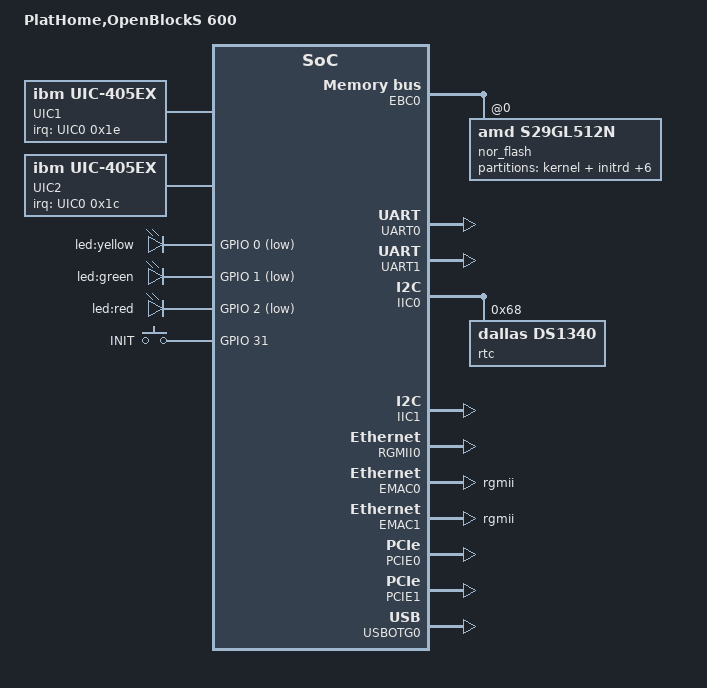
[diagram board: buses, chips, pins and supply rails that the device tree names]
/*
 * Device Tree Source for PlatHome OpenBlockS 600 (405EX)
 *
 * Copyright 2011 Ben Herrenschmidt, IBM Corp.
 *
 * Based on Kilauea by:
 *
 * Copyright 2007-2009 DENX Software Engineering, Stefan Roese <sr@denx.de>
 *
 * This file is licensed under the terms of the GNU General Public
 * License version 2.  This program is licensed "as is" without
 * any warranty of any kind, whether express or implied.
 */

/dts-v1/;
#include <dt-bindings/gpio/gpio.h>
#include <dt-bindings/input/input.h>
#include <dt-bindings/mtd/partitions/uimage.h>

/ {
	#address-cells = <1>;
	#size-cells = <1>;
	model = "PlatHome,OpenBlockS 600";
	compatible = "plathome,obs600";
	dcr-parent = <&{/cpus/cpu@0}>;

	aliases {
		ethernet0 = &EMAC0;
		ethernet1 = &EMAC1;
		serial0 = &UART0;
		serial1 = &UART1;
	};

	cpus {
		#address-cells = <1>;
		#size-cells = <0>;

		cpu@0 {
			device_type = "cpu";
			model = "PowerPC,405EX";
			reg = <0x00000000>;
			clock-frequency = <0>; /* Filled in by U-Boot */
			timebase-frequency = <0>; /* Filled in by U-Boot */
			i-cache-line-size = <32>;
			d-cache-line-size = <32>;
			i-cache-size = <16384>; /* 16 kB */
			d-cache-size = <16384>; /* 16 kB */
			dcr-controller;
			dcr-access-method = "native";
		};
	};

	memory {
		device_type = "memory";
		reg = <0x00000000 0x00000000>; /* Filled in by U-Boot */
	};

	UIC0: interrupt-controller {
		compatible = "ibm,uic-405ex", "ibm,uic";
		interrupt-controller;
		cell-index = <0>;
		dcr-reg = <0x0c0 0x009>;
		#address-cells = <0>;
		#size-cells = <0>;
		#interrupt-cells = <2>;
	};

	UIC1: interrupt-controller1 {
		compatible = "ibm,uic-405ex","ibm,uic";
		interrupt-controller;
		cell-index = <1>;
		dcr-reg = <0x0d0 0x009>;
		#address-cells = <0>;
		#size-cells = <0>;
		#interrupt-cells = <2>;
		interrupts = <0x1e 0x4 0x1f 0x4>; /* cascade */
		interrupt-parent = <&UIC0>;
	};

	UIC2: interrupt-controller2 {
		compatible = "ibm,uic-405ex","ibm,uic";
		interrupt-controller;
		cell-index = <2>;
		dcr-reg = <0x0e0 0x009>;
		#address-cells = <0>;
		#size-cells = <0>;
		#interrupt-cells = <2>;
		interrupts = <0x1c 0x4 0x1d 0x4>; /* cascade */
		interrupt-parent = <&UIC0>;
	};

	CPM0: cpm {
		compatible = "ibm,cpm";
		dcr-access-method = "native";
		dcr-reg = <0x0b0 0x003>;
		unused-units = <0x00000000>;
		idle-doze = <0x02000000>;
		standby = <0xe3e74800>;
	};

	plb {
		compatible = "ibm,plb-405ex", "ibm,plb4";
		#address-cells = <1>;
		#size-cells = <1>;
		ranges;
		clock-frequency = <0>; /* Filled in by U-Boot */

		SDRAM0: memory-controller {
			compatible = "ibm,sdram-405ex", "ibm,sdram-4xx-ddr2";
			dcr-reg = <0x010 0x002>;
			interrupt-parent = <&UIC2>;
			interrupts = <0x5 0x4	/* ECC DED Error */
				      0x6 0x4>;	/* ECC SEC Error */
		};

		CRYPTO: crypto@ef700000 {
			compatible = "amcc,ppc405ex-crypto", "amcc,ppc4xx-crypto";
			reg = <0xef700000 0x80400>;
			interrupt-parent = <&UIC0>;
			interrupts = <0x17 0x2>;
		};

		MAL0: mcmal {
			compatible = "ibm,mcmal-405ex", "ibm,mcmal2";
			dcr-reg = <0x180 0x062>;
			num-tx-chans = <2>;
			num-rx-chans = <2>;
			interrupt-parent = <&MAL0>;
			interrupts = <0x0 0x1 0x2 0x3 0x4>;
			#interrupt-cells = <1>;
			#address-cells = <0>;
			#size-cells = <0>;
			interrupt-map = </*TXEOB*/ 0x0 &UIC0 0xa 0x4
					/*RXEOB*/ 0x1 &UIC0 0xb 0x4
					/*SERR*/  0x2 &UIC1 0x0 0x4
					/*TXDE*/  0x3 &UIC1 0x1 0x4
					/*RXDE*/  0x4 &UIC1 0x2 0x4>;
			interrupt-map-mask = <0xffffffff>;
		};

		POB0: opb {
			compatible = "ibm,opb-405ex", "ibm,opb";
			#address-cells = <1>;
			#size-cells = <1>;
			ranges = <0x80000000 0x80000000 0x10000000
				  0xef600000 0xef600000 0x00a00000
				  0xf0000000 0xf0000000 0x10000000>;
			dcr-reg = <0x0a0 0x005>;
			clock-frequency = <0>; /* Filled in by U-Boot */

			EBC0: ebc {
				compatible = "ibm,ebc-405ex", "ibm,ebc";
				dcr-reg = <0x012 0x002>;
				#address-cells = <2>;
				#size-cells = <1>;
				clock-frequency = <0>; /* Filled in by U-Boot */
				/* ranges property is supplied by U-Boot */
				interrupts = <0x5 0x1>;
				interrupt-parent = <&UIC1>;

				nor_flash@0,0 {
					compatible = "amd,s29gl512n", "cfi-flash";
					bank-width = <2>;
					reg = <0x00000000 0x00000000 0x08000000>;
					#address-cells = <1>;
					#size-cells = <1>;
					partitions {
						compatible = "fixed-partitions";
						#address-cells = <1>;
						#size-cells = <1>;

						partition@0 {
							label = "kernel + initrd";
							reg = <0x00000000 0x03de0000>;
							compatible = "openwrt,uimage", "denx,uimage";
							openwrt,ih-type = <IH_TYPE_MULTI>;
						};
						partition@3de0000 {
							label = "user config area";
							reg = <0x03de0000 0x00080000>;
						};
						partition@3e60000 {
							label = "user program area";
							reg = <0x03e60000 0x04000000>;
						};
						partition@7e60000 {
							label = "flat device tree";
							reg = <0x07e60000 0x00080000>;
						};
						partition@7ee0000 {
							label = "test program";
							reg = <0x07ee0000 0x00080000>;
						};
						partition@7f60000 {
							label = "u-boot env";
							reg = <0x07f60000 0x00040000>;
						};
						partition@7fa0000 {
							label = "u-boot";
							reg = <0x07fa0000 0x00060000>;
						};
					};
				};
			};

			UART0: serial@ef600200 {
				device_type = "serial";
				compatible = "ns16550";
				reg = <0xef600200 0x00000008>;
				virtual-reg = <0xef600200>;
				clock-frequency = <0>; /* Filled in by U-Boot */
				current-speed = <0>;
				interrupt-parent = <&UIC0>;
				interrupts = <0x1a 0x4>;
			};

			UART1: serial@ef600300 {
				device_type = "serial";
				compatible = "ns16550";
				reg = <0xef600300 0x00000008>;
				virtual-reg = <0xef600300>;
				clock-frequency = <0>; /* Filled in by U-Boot */
				current-speed = <0>;
				interrupt-parent = <&UIC0>;
				interrupts = <0x1 0x4>;
			};

			IIC0: i2c@ef600400 {
				compatible = "ibm,iic-405ex", "ibm,iic";
				reg = <0xef600400 0x00000014>;
				interrupt-parent = <&UIC0>;
				interrupts = <0x2 0x4>;
				#address-cells = <1>;
				#size-cells = <0>;

				rtc@68 {
					compatible = "dallas,ds1340";
					reg = <0x68>;
				};
			};

			IIC1: i2c@ef600500 {
				compatible = "ibm,iic-405ex", "ibm,iic";
				reg = <0xef600500 0x00000014>;
				interrupt-parent = <&UIC0>;
				interrupts = <0x7 0x4>;
			};

			RGMII0: emac-rgmii@ef600b00 {
				compatible = "ibm,rgmii-405ex", "ibm,rgmii";
				reg = <0xef600b00 0x00000104>;
				has-mdio;
			};

			EMAC0: ethernet@ef600900 {
				linux,network-index = <0x0>;
				device_type = "network";
				compatible = "ibm,emac-405ex", "ibm,emac4sync";
				interrupt-parent = <&EMAC0>;
				interrupts = <0x0 0x1>;
				#interrupt-cells = <1>;
				#address-cells = <0>;
				#size-cells = <0>;
				interrupt-map = </*Status*/ 0x0 &UIC0 0x18 0x4
						/*Wake*/  0x1 &UIC1 0x1d 0x4>;
				reg = <0xef600900 0x000000c4>;
				local-mac-address = [000000000000]; /* Filled in by U-Boot */
				mal-device = <&MAL0>;
				mal-tx-channel = <0>;
				mal-rx-channel = <0>;
				cell-index = <0>;
				max-frame-size = <9000>;
				rx-fifo-size = <4096>;
				tx-fifo-size = <2048>;
				rx-fifo-size-gige = <16384>;
				tx-fifo-size-gige = <16384>;
				phy-mode = "rgmii";
				phy-map = <0x00000000>;
				rgmii-device = <&RGMII0>;
				rgmii-channel = <0>;
				has-inverted-stacr-oc;
				has-new-stacr-staopc;
			};

			EMAC1: ethernet@ef600a00 {
				linux,network-index = <0x1>;
				device_type = "network";
				compatible = "ibm,emac-405ex", "ibm,emac4sync";
				interrupt-parent = <&EMAC1>;
				interrupts = <0x0 0x1>;
				#interrupt-cells = <1>;
				#address-cells = <0>;
				#size-cells = <0>;
				interrupt-map = </*Status*/ 0x0 &UIC0 0x19 0x4
						/*Wake*/  0x1 &UIC1 0x1f 0x4>;
				reg = <0xef600a00 0x000000c4>;
				local-mac-address = [000000000000]; /* Filled in by U-Boot */
				mal-device = <&MAL0>;
				mal-tx-channel = <1>;
				mal-rx-channel = <1>;
				cell-index = <1>;
				max-frame-size = <9000>;
				rx-fifo-size = <4096>;
				tx-fifo-size = <2048>;
				rx-fifo-size-gige = <16384>;
				tx-fifo-size-gige = <16384>;
				phy-mode = "rgmii";
				phy-map = <0x00000000>;
				rgmii-device = <&RGMII0>;
				rgmii-channel = <1>;
				has-inverted-stacr-oc;
				has-new-stacr-staopc;
			};

			GPIO: gpio@ef600800 {
				device_type = "gpio";
				compatible = "ibm,gpio-405ex", "ibm,ppc4xx-gpio";
				reg = <0xef600800 0x50>;
				#gpio-cells = <2>;
				gpio-controller;
			};
			gpio-leds {
				  compatible = "gpio-leds";
				  yellow {
					label = "led:yellow";
					gpios = <&GPIO 0 GPIO_ACTIVE_LOW>;
					default-state = "on";

				  };
				  green {
					label = "led:green";
					gpios = <&GPIO 1 GPIO_ACTIVE_LOW>;
					default-state = "on";
				  };
				  red {
					label = "led:red";
					gpios = <&GPIO 2 GPIO_ACTIVE_LOW>;
					default-state = "on";
				  };
			};
			gpio-keys-polled {
				  compatible = "gpio-keys-polled";
				  poll-interval = <100>;
				  INIT {
				       label = "INIT";
				       linux,code = <KEY_POWER>;
				       gpios = <&GPIO 31 GPIO_ACTIVE_HIGH>;
				   };
			};
		};

		PCIE0: pcie@a0000000 {
			device_type = "pci";
			#interrupt-cells = <1>;
			#size-cells = <2>;
			#address-cells = <3>;
			compatible = "ibm,plb-pciex-405ex", "ibm,plb-pciex";
			primary;
			port = <0x0>; /* port number */
			reg = <0xa0000000 0x20000000	/* Config space access */
			       0xef000000 0x00001000>;	/* Registers */
			dcr-reg = <0x040 0x020>;
			sdr-base = <0x400>;

			/* Outbound ranges, one memory and one IO,
			 * later cannot be changed
			 */
			ranges = <0x02000000 0x00000000 0x80000000 0x90000000 0x00000000 0x08000000
				  0x01000000 0x00000000 0x00000000 0xe0000000 0x00000000 0x00010000>;

			/* Inbound 2GB range starting at 0 */
			dma-ranges = <0x42000000 0x0 0x0 0x0 0x0 0x80000000>;

			/* This drives busses 0x00 to 0x3f */
			bus-range = <0x0 0x3f>;

			/* Legacy interrupts (note the weird polarity, the bridge seems
			 * to invert PCIe legacy interrupts).
			 * We are de-swizzling here because the numbers are actually for
			 * port of the root complex virtual P2P bridge. But I want
			 * to avoid putting a node for it in the tree, so the numbers
			 * below are basically de-swizzled numbers.
			 * The real slot is on idsel 0, so the swizzling is 1:1
			 */
			interrupt-map-mask = <0x0 0x0 0x0 0x7>;
			interrupt-map = <
				0x0 0x0 0x0 0x1 &UIC2 0x0 0x4 /* swizzled int A */
				0x0 0x0 0x0 0x2 &UIC2 0x1 0x4 /* swizzled int B */
				0x0 0x0 0x0 0x3 &UIC2 0x2 0x4 /* swizzled int C */
				0x0 0x0 0x0 0x4 &UIC2 0x3 0x4 /* swizzled int D */>;
		};

		PCIE1: pcie@c0000000 {
			device_type = "pci";
			#interrupt-cells = <1>;
			#size-cells = <2>;
			#address-cells = <3>;
			compatible = "ibm,plb-pciex-405ex", "ibm,plb-pciex";
			primary;
			port = <0x1>; /* port number */
			reg = <0xc0000000 0x20000000	/* Config space access */
			       0xef001000 0x00001000>;	/* Registers */
			dcr-reg = <0x060 0x020>;
			sdr-base = <0x440>;

			/* Outbound ranges, one memory and one IO,
			 * later cannot be changed
			 */
			ranges = <0x02000000 0x00000000 0x80000000 0x98000000 0x00000000 0x08000000
				  0x01000000 0x00000000 0x00000000 0xe0010000 0x00000000 0x00010000>;

			/* Inbound 2GB range starting at 0 */
			dma-ranges = <0x42000000 0x0 0x0 0x0 0x0 0x80000000>;

			/* This drives busses 0x40 to 0x7f */
			bus-range = <0x40 0x7f>;

			/* Legacy interrupts (note the weird polarity, the bridge seems
			 * to invert PCIe legacy interrupts).
			 * We are de-swizzling here because the numbers are actually for
			 * port of the root complex virtual P2P bridge. But I want
			 * to avoid putting a node for it in the tree, so the numbers
			 * below are basically de-swizzled numbers.
			 * The real slot is on idsel 0, so the swizzling is 1:1
			 */
			interrupt-map-mask = <0x0 0x0 0x0 0x7>;
			interrupt-map = <
				0x0 0x0 0x0 0x1 &UIC2 0xb 0x4 /* swizzled int A */
				0x0 0x0 0x0 0x2 &UIC2 0xc 0x4 /* swizzled int B */
				0x0 0x0 0x0 0x3 &UIC2 0xd 0x4 /* swizzled int C */
				0x0 0x0 0x0 0x4 &UIC2 0xe 0x4 /* swizzled int D */>;
		};

		USBOTG0: usbotg@ef6c0000 {
		compatible = "amcc,dwc-otg", "snps,dwc2", "amcc,dwc_otg";
		reg = <0xef6c0000 0x10000>;
		interrupt-parent = <&USBOTG0>;
		interrupts = <0x0 0x1 0x2>;
		#interrupt-cells = <0x1>;
		#address-cells = <0x0>;
		#size-cells = <0x0>;
		interrupt-map = </* USB-OTG */ 0x0 &UIC2 0x1e 0x4
						/* HIGH-POWER */ 0x1 &UIC1 0x1a 0x8
						/* DMA */ 0x2 &UIC0 0xc 0x4>;
		interrupt-map-mask = <0xffffffff>;
		};
	};
        chosen {
                stdout-path = "/plb/opb/serial@ef600200";
        };
};
